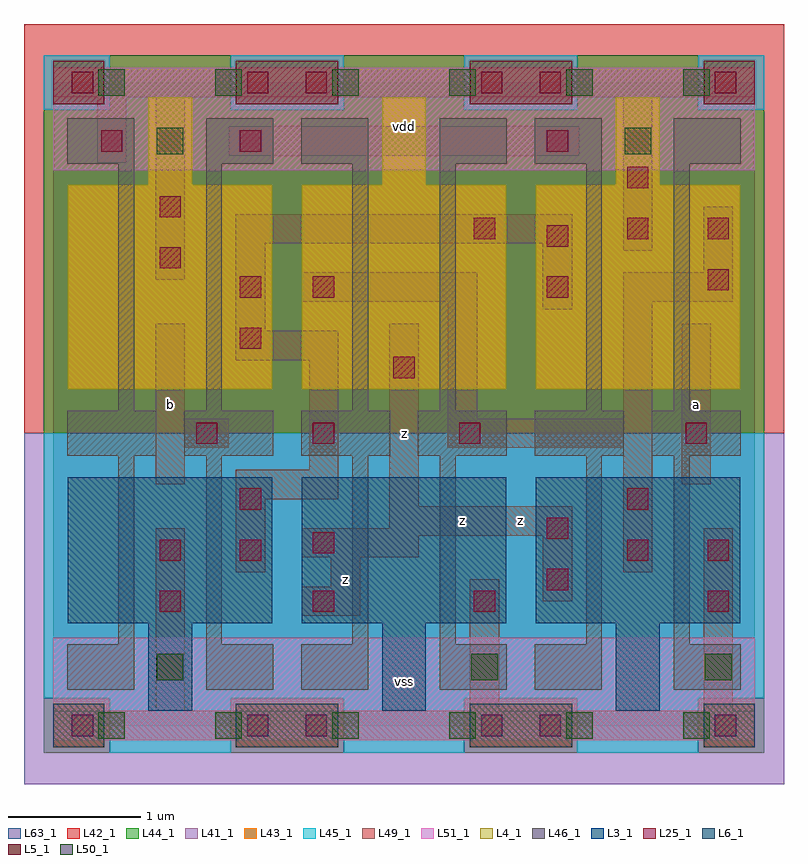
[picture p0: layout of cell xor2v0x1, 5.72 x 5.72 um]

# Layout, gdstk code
import gdstk
lib = gdstk.Library(unit=1e-6, precision=1e-09)
def R(c, l, rs):  # rectangles x0, y0, x1, y1
    for r in rs: c.add(gdstk.rectangle(r[:2], r[2:], *l))
def A(c, l, x, y, w, h, nx, ny, dx, dy):  # array of equal rectangles
    R(c, l, [(x+i*dx, y+j*dy, x+i*dx+w, y+j*dy+h) for i in range(nx) for j in range(ny)])
L3_1 = (3, 1)
L4_1 = (4, 1)
L5_1 = (5, 1)
L6_1 = (6, 1)
L25_1 = (25, 1)
L41_1 = (41, 1)
L42_1 = (42, 1)
L43_1 = (43, 1)
L44_1 = (44, 1)
L45_1 = (45, 1)
L46_1 = (46, 1)
L49_1 = (49, 1)
L50_1 = (50, 1)
L51_1 = (51, 1)
L63_1 = (63, 1)

xor2v0x1 = lib.new_cell('xor2v0x1')
A(xor2v0x1, L3_1, 0.715, 0.11, 0.33, 0.66, 3, 1, 1.76, 0)
A(xor2v0x1, L3_1, 0.11, 0.77, 1.54, 1.1, 3, 1, 1.76, 0)
A(xor2v0x1, L4_1, 0.11, 2.53, 1.54, 1.54, 3, 1, 1.76, 0)
A(xor2v0x1, L4_1, 0.715, 4.07, 0.33, 0.66, 3, 1, 1.76, 0)
R(xor2v0x1, L5_1, [(0,4.675,0.385,5.005), (1.375,4.675,2.145,5.005), (3.135,4.675,3.905,5.005), (4.895,4.675,5.28,5.005)])
R(xor2v0x1, L6_1, [(0,-0.165,0.385,0.165), (1.375,-0.165,2.145,0.165), (3.135,-0.165,3.905,0.165), (4.895,-0.165,5.28,0.165)])
R(xor2v0x1, L25_1, [(0.14,-0.08,0.3,0.08), (1.46,-0.08,1.62,0.08), (1.9,-0.08,2.06,0.08), (3.22,-0.08,3.38,0.08), (3.66,-0.08,3.82,0.08), (4.98,-0.08,5.14,0.08), (0.8,0.855,0.96,1.015), (1.955,0.855,2.115,1.015), (3.165,0.855,3.325,1.015), (4.925,0.855,5.085,1.015), (3.715,1.02,3.875,1.18), (0.8,1.24,0.96,1.4), (1.405,1.24,1.565,1.4), (4.32,1.24,4.48,1.4), (4.925,1.24,5.085,1.4), (1.955,1.295,2.115,1.455), (3.715,1.405,3.875,1.565), (1.405,1.625,1.565,1.785), (4.32,1.625,4.48,1.785), (1.075,2.12,1.235,2.28), (1.955,2.12,2.115,2.28), (3.055,2.12,3.215,2.28), (4.76,2.12,4.92,2.28), (2.56,2.615,2.72,2.775), (1.405,2.835,1.565,2.995), (1.405,3.22,1.565,3.38), (1.955,3.22,2.115,3.38), (3.715,3.22,3.875,3.38), (4.925,3.275,5.085,3.435), (0.8,3.44,0.96,3.6), (3.715,3.605,3.875,3.765), (3.165,3.66,3.325,3.82), (4.32,3.66,4.48,3.82), (4.925,3.66,5.085,3.82), (0.8,3.825,0.96,3.985), (4.32,4.045,4.48,4.205), (0.36,4.32,0.52,4.48), (1.405,4.32,1.565,4.48), (3.715,4.32,3.875,4.48), (0.14,4.76,0.3,4.92), (1.46,4.76,1.62,4.92), (1.9,4.76,2.06,4.92), (3.22,4.76,3.38,4.92), (3.66,4.76,3.82,4.92), (4.98,4.76,5.14,4.92)])
R(xor2v0x1, L41_1, [(-0.22,-0.44,5.5,2.2)])
R(xor2v0x1, L42_1, [(-0.22,2.2,5.5,5.28)])
A(xor2v0x1, L43_1, 0.715, 0.11, 0.33, 0.66, 3, 2, 1.76, 3.96)
A(xor2v0x1, L43_1, 0.11, 0.77, 1.54, 1.1, 3, 1, 1.76, 0)
A(xor2v0x1, L43_1, 0.11, 2.53, 1.54, 1.54, 3, 1, 1.76, 0)
R(xor2v0x1, L43_1, [(0,-0.165,0.385,0.165), (1.375,-0.165,2.145,0.165), (3.135,-0.165,3.905,0.165), (4.895,-0.165,5.28,0.165), (0,4.675,0.385,5.005), (1.375,4.675,2.145,5.005), (3.135,4.675,3.905,5.005), (4.895,4.675,5.28,5.005)])
A(xor2v0x1, L44_1, 0.425, 4.635, 0.91, 0.41, 3, 1, 1.76, 0)
R(xor2v0x1, L44_1, [(-0.07,-0.205,0.425,0.205), (1.335,-0.205,2.185,0.205), (3.095,-0.205,3.945,0.205), (4.855,-0.205,5.35,0.205), (-0.07,2.2,5.35,4.635)])
A(xor2v0x1, L45_1, 0.425, -0.205, 0.91, 0.41, 3, 1, 1.76, 0)
R(xor2v0x1, L45_1, [(-0.07,0.205,5.35,2.2), (-0.07,4.635,0.425,5.045), (1.335,4.635,2.185,5.045), (3.095,4.635,3.945,5.045), (4.855,4.635,5.35,5.045)])
A(xor2v0x1, L46_1, 0.105, 2.03, 0.67, 0.34, 6, 1, 0.88, 0)
R(xor2v0x1, L46_1, [(0.105,0.27,0.61,0.61), (1.15,0.27,1.655,0.61), (1.865,0.27,2.37,0.61), (2.91,0.27,3.415,0.61), (3.625,0.27,4.13,0.61), (4.67,0.27,5.175,0.61), (0.49,0.61,0.61,2.03), (1.15,0.61,1.27,2.03), (2.25,0.61,2.37,2.03), (2.91,0.61,3.03,2.03), (4.01,0.61,4.13,2.03), (4.67,0.61,4.79,2.03), (0.49,2.37,0.61,4.23), (1.15,2.37,1.27,4.23), (2.25,2.37,2.37,4.23), (2.91,2.37,3.03,4.23), (4.01,2.37,4.13,4.23), (4.67,2.37,4.79,4.23), (0.105,4.23,0.61,4.57), (1.15,4.23,1.655,4.57), (1.865,4.23,2.37,4.57), (2.91,4.23,3.415,4.57), (3.625,4.23,4.13,4.57), (4.67,4.23,5.175,4.57)])
R(xor2v0x1, L49_1, [(0,-0.11,5.28,0.11), (0.77,0.11,0.99,1.485), (3.135,0.11,3.355,1.1), (4.895,0.11,5.115,1.485), (1.87,0.825,2.31,1.045), (3.685,0.935,3.905,1.43), (2.09,1.045,2.31,1.265), (1.375,1.155,1.595,1.705), (4.29,1.155,4.51,2.09), (1.87,1.265,2.75,1.43), (1.87,1.43,3.905,1.485), (2.53,1.485,3.905,1.65), (2.53,1.65,2.75,3.025), (1.375,1.705,2.145,1.925), (0.77,1.815,0.99,2.09), (4.73,1.815,4.95,3.025), (1.925,1.925,2.145,2.75), (0.77,2.09,1.32,2.31), (2.97,2.09,4.51,2.31), (0.77,2.31,0.99,3.025), (2.97,2.31,3.19,3.19), (4.29,2.31,4.51,3.19), (1.375,2.75,2.145,2.97), (1.375,2.97,1.595,3.63), (3.685,3.135,3.905,3.63), (1.87,3.19,3.19,3.41), (4.29,3.19,5.115,3.41), (0.77,3.355,0.99,4.73), (4.895,3.41,5.115,3.905), (4.29,3.575,4.51,4.73), (1.375,3.63,3.905,3.85), (0.33,4.235,0.55,4.73), (1.32,4.29,3.96,4.51), (0,4.73,5.28,4.95)])
A(xor2v0x1, L50_1, 0.34, -0.1, 0.2, 0.2, 6, 2, 0.88, 4.84)
R(xor2v0x1, L50_1, [(0.78,0.34,0.98,0.54), (3.145,0.34,3.345,0.54), (4.905,0.34,5.105,0.54), (0.78,4.3,0.98,4.5), (4.3,4.3,4.5,4.5)])
R(xor2v0x1, L51_1, [(0,-0.11,5.28,0.66), (0,4.18,5.28,4.95)])
R(xor2v0x1, L63_1, [(0,0,5.28,4.84)])
xor2v0x1.add(gdstk.Label('b', (0.88,2.42), layer=49, texttype=1))
xor2v0x1.add(gdstk.Label('z', (2.2,1.1), layer=49, texttype=1))
xor2v0x1.add(gdstk.Label('z', (3.08,1.54), layer=49, texttype=1))
xor2v0x1.add(gdstk.Label('z', (2.64,2.2), layer=49, texttype=1))
xor2v0x1.add(gdstk.Label('z', (3.52,1.54), layer=49, texttype=1))
xor2v0x1.add(gdstk.Label('a', (4.84,2.42), layer=49, texttype=1))
xor2v0x1.add(gdstk.Label('vss', (2.64,0.33), layer=51, texttype=1))
xor2v0x1.add(gdstk.Label('vdd', (2.64,4.51), layer=51, texttype=1))

lib.write_gds('xor2v0x1.gds')
